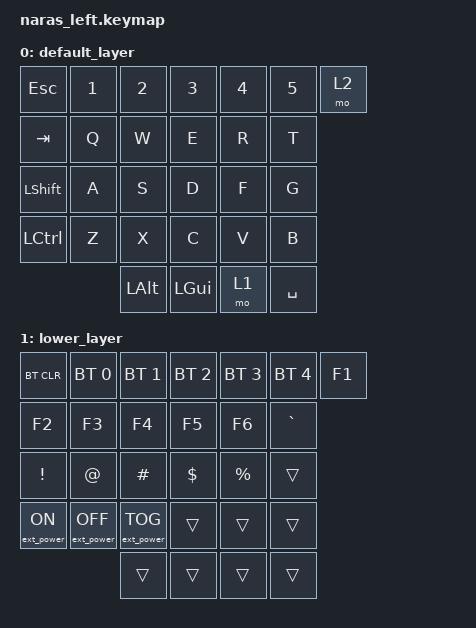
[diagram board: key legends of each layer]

#include <behaviors.dtsi>
#include <dt-bindings/zmk/keys.h>
#include <dt-bindings/zmk/bt.h>
#include <dt-bindings/zmk/ext_power.h>

/ {
    keymap {
        compatible = "zmk,keymap";

        default_layer {
// ------------------------------------------------------------------------------------------------------------
// |  ESC  |  1  |  2  |  3   |  4   |  5   |                   |  6   |  7    |  8    |  9   |   0   |   `   |
// |  TAB  |  Q  |  W  |  E   |  R   |  T   |                   |  Y   |  U    |  I    |  O   |   P   |   -   |
// |  CTRL |  A  |  S  |  D   |  F   |  G   |                   |  H   |  J    |  K    |  L   |   ;   |   '   |
// | SHIFT |  Z  |  X  |  C   |  V   |  B   |   "["  |  |  "]"  |  N   |  M    |  ,    |  .   |   /   | SHIFT |
//                     | ALT  | GUI  | LOWER|  SPACE |  | ENTER | RAISE| BSPC  | GUI   |
            bindings = <
&kp ESC   &kp N1 &kp N2 &kp N3   &kp N4   &kp N5 &mo 2         
&kp TAB   &kp Q  &kp W  &kp E    &kp R    &kp T           
&kp LSHFT &kp A  &kp S  &kp D    &kp F    &kp G           
&kp LCTRL &kp Z  &kp X  &kp C    &kp V    &kp B  
                 &kp LALT &kp LGUI &mo 1  &kp SPACE       
            >;
        };

        lower_layer {
// ------------------------------------------------------------------------------------------------------------
// | BTCLR | BT1 | BT2 |  BT3 |  BT4 |  BT5 |                   |      |       |       |      |       |       |
// |  F1   |  F2 |  F3 |  F4  |  F5  |  F6  |                   |  F7  |  F8   |  F9   |  F10 |  F11  |  F12  |
// |   `   |  !  |  @  |  #   |  $   |  %   |                   |  ^   |  &    |  *    |  (   |   )   |   ~   |
// |       |     |     |      |      |      |        |  |       |      |  _    |  +    |  {   |   }   |  "|"  |
//                     |      |      |      |        |  |       |      |       |       |
            bindings = <
&bt BT_CLR &bt BT_SEL 0     &bt BT_SEL 1      &bt BT_SEL 2      &bt BT_SEL 3 &bt BT_SEL 4      
&kp F1     &kp F2           &kp F3            &kp F4            &kp F5       &kp F6            
&kp GRAVE  &kp EXCL         &kp AT            &kp HASH          &kp DOLLAR   &kp PRCNT         
&trans     &ext_power EP_ON &ext_power EP_OFF &ext_power EP_TOG &trans       &trans    &trans  
                                              &trans            &trans       &trans    &trans  
            >;
        };
    };
};
